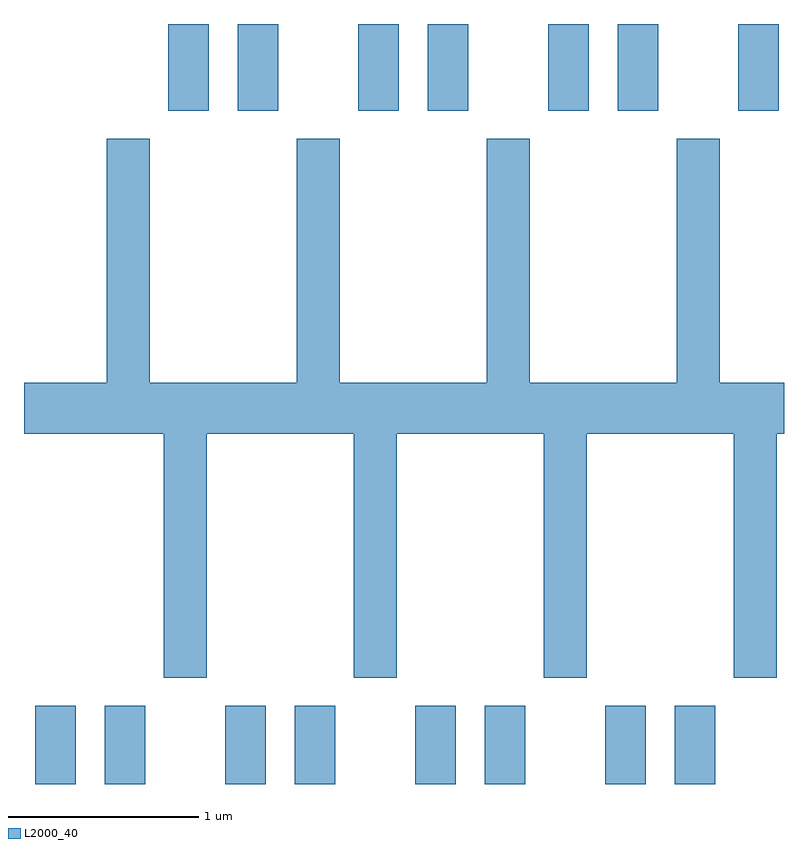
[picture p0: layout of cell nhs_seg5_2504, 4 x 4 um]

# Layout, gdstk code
import gdstk
lib = gdstk.Library(unit=1e-6, precision=1e-09)
def R(c, l, rs):  # rectangles x0, y0, x1, y1
    for r in rs: c.add(gdstk.rectangle(r[:2], r[2:], *l))
def P(c, l, *ps):  # polygons
    for p in ps: c.add(gdstk.Polygon(p, *l))
L2000_40 = (2000, 40)

nhs_seg5_2504 = lib.new_cell('nhs_seg5_2504')
R(nhs_seg5_2504, L2000_40, [(259.671,1446.072,259.884,1446.484), (260.036,1446.072,260.249,1446.484), (260.671,1446.072,260.884,1446.484), (261.036,1446.072,261.249,1446.484), (261.671,1446.072,261.884,1446.484), (262.036,1446.072,262.249,1446.484), (262.671,1446.072,262.884,1446.484), (263.036,1446.072,263.249,1446.484), (260.371,1449.616,260.584,1450.072), (260.736,1449.616,260.949,1450.072), (261.371,1449.616,261.584,1450.072), (261.736,1449.616,261.949,1450.072), (262.371,1449.616,262.584,1450.072), (262.736,1449.616,262.949,1450.072), (263.371,1449.616,263.584,1450.072)])
P(nhs_seg5_2504, L2000_40, [(260.574,1447.916),(261.346,1447.916),(261.346,1446.631),(261.574,1446.631),(261.574,1447.916),(262.346,1447.916),(262.346,1446.631),(262.574,1446.631),(262.574,1447.916),(263.346,1447.916),(263.346,1446.631),(263.574,1446.631),(263.574,1447.916),(263.611,1447.916),(263.611,1448.184),(263.274,1448.184),(263.274,1449.469),(263.046,1449.469),(263.046,1448.184),(262.274,1448.184),(262.274,1449.469),(262.046,1449.469),(262.046,1448.184),(261.274,1448.184),(261.274,1449.469),(261.046,1449.469),(261.046,1448.184),(260.274,1448.184),(260.274,1449.469),(260.046,1449.469),(260.046,1448.184),(259.611,1448.184),(259.611,1447.916),(260.346,1447.916),(260.346,1446.631),(260.574,1446.631)])

lib.write_gds('nhs_seg5_2504.gds')
